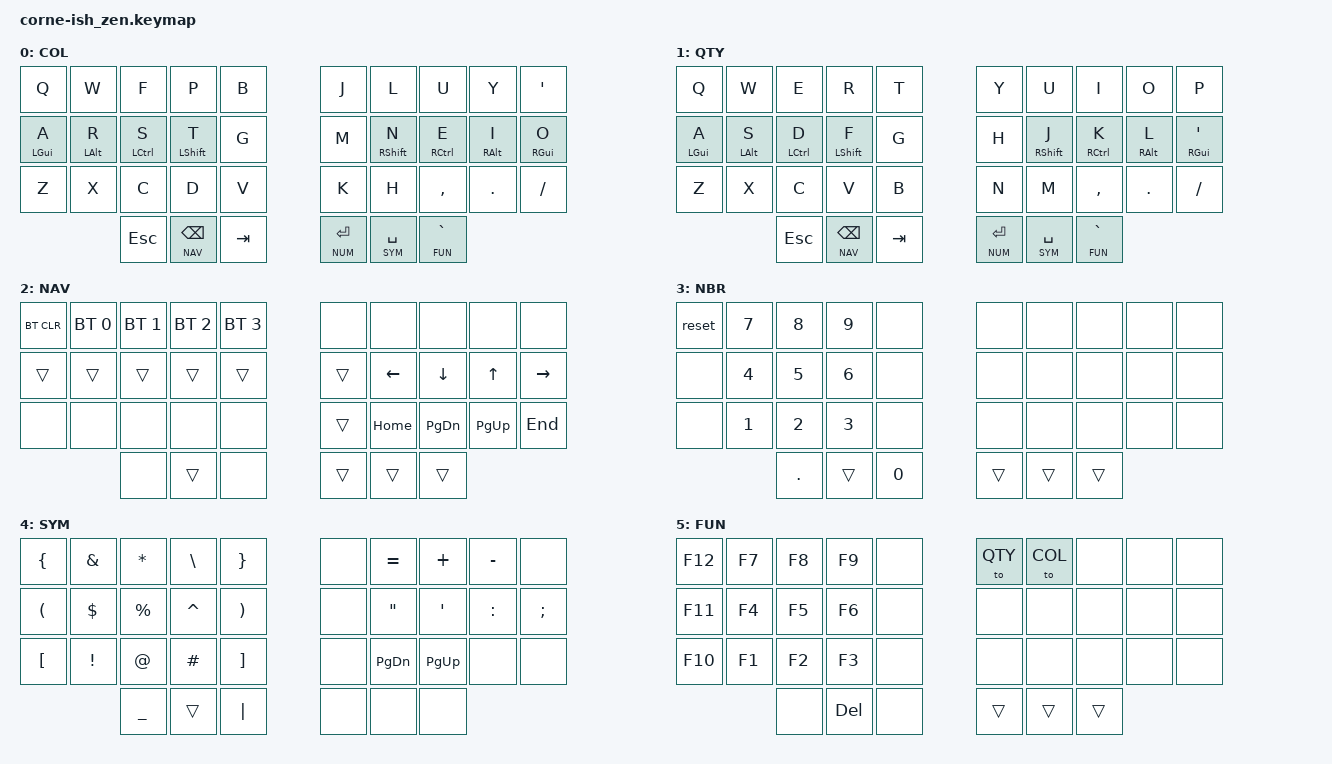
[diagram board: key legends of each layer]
#include <behaviors.dtsi>
#include <dt-bindings/zmk/keys.h>
#include <dt-bindings/zmk/bt.h>


#define COL 0
#define QTY 1
#define NAV 2
#define NUM 3
#define SYM 4
#define FUN 5



/ {
        behaviors {
                hm: homerow_mods {
                compatible = "zmk,behavior-hold-tap";
                label = "HOMEROW_MODS";
                #binding-cells = <2>;
                tapping-term-ms = <200>;
                quick-tap-ms = <0>;
                flavor = "tap-preferred";
                bindings = <&kp>, <&kp>;
                };
        };

        chosen {
                zmk,matrix_transform = &five_column_transform;
        };
        
        keymap {
                compatible = "zmk,keymap";

                default_layer {
                        label="COL";
                        bindings = <
   &kp Q           &kp W           &kp F           &kp P           &kp B                        &kp J           &kp L                   &kp U                   &kp Y                   &kp SQT              
   &hm LGUI A      &hm LALT R      &hm LCTRL S     &hm LSHIFT T    &kp G                        &kp M           &hm RSHIFT N            &hm RCTRL E             &hm RALT I              &hm RGUI O           
   &kp Z           &kp X           &kp C           &kp D           &kp V                        &kp K           &kp H                   &kp COMMA               &kp DOT                 &kp SLASH                
                                   &kp ESC         &lt NAV BSPC    &kp TAB                      &lt NUM RET     &lt SYM SPACE           &lt FUN GRAVE
                        >;
                };

                qwerty_layer {
                        label="QTY";
                        bindings = <
   &kp Q           &kp W           &kp E           &kp R           &kp T                        &kp Y           &kp U               &kp I                   &kp O              &kp P              
   &hm LGUI A      &hm LALT S      &hm LCTRL D     &hm LSHIFT F    &kp G                        &kp H           &hm RSHIFT J        &hm RCTRL K             &hm RALT L         &hm RGUI SQT           
   &kp Z           &kp X           &kp C           &kp V           &kp B                        &kp N           &kp M               &kp COMMA               &kp DOT            &kp SLASH                
                                   &kp ESC         &lt NAV BSPC    &kp TAB                      &lt NUM RET     &lt SYM SPACE       &lt FUN GRAVE
                        >;
                };

                nav_layer {
                        label="NAV";
                        bindings = <
   &bt BT_CLR      &bt BT_SEL 0    &bt BT_SEL 1    &bt BT_SEL 2    &bt BT_SEL 3                 &none           &none        &none           &none           &none
   &trans          &trans          &trans          &trans          &trans                       &trans          &kp LEFT     &kp DOWN        &kp UP          &kp RIGHT
   &none           &none           &none           &none           &none                        &trans          &kp HOME     &kp PG_DN       &kp PG_UP       &kp END       
                          	   &none           &trans          &none                        &trans          &trans       &trans
                        >;
                };

                num_layer {
                        label="NBR";
                        bindings = <
   &reset          &kp N7          &kp N8          &kp N9          &none                        &none       &none       &none     &none     &none              
   &none           &kp N4          &kp N5          &kp N6          &none                        &none       &none       &none     &none     &none              
   &none           &kp N1          &kp N2          &kp N3          &none                        &none       &none       &none     &none     &none              
                    	           &kp DOT         &trans          &kp N0                       &trans      &trans      &trans
                        >;
                };

                sym_layer {
                        label="SYM";
                        bindings = <
   &kp LBRC         &kp AMPS        &kp STAR        &kp BSLH       &kp RBRC                     &none           &kp EQUAL       &kp PLUS        &kp MINUS       &none              
   &kp LPAR         &kp DLLR        &kp PRCNT       &kp CARET      &kp RPAR                     &none           &kp DQT         &kp SQT         &kp COLON       &kp SEMI                
   &kp LBKT         &kp EXCL        &kp AT          &kp HASH       &kp RBKT                     &none           &kp PG_DN       &kp PG_UP       &none           &none                
                    	            &kp UNDER       &trans         &kp PIPE                     &none           &none           &none
                        >;
               };


                fun_layer {
                        label="FUN";
                        bindings = <
   &kp F12         &kp F7        &kp F8         &kp F9          &none                           &to QTY         &to COL              &none           &none       &none              
   &kp F11         &kp F4        &kp F5         &kp F6          &none                           &none           &none              &none           &none       &none
   &kp F10         &kp F1        &kp F2         &kp F3          &none                           &none           &none              &none           &none       &none                
                    	         &none          &kp DEL         &none                           &trans          &trans             &trans
                        >;
               };
        };
};
